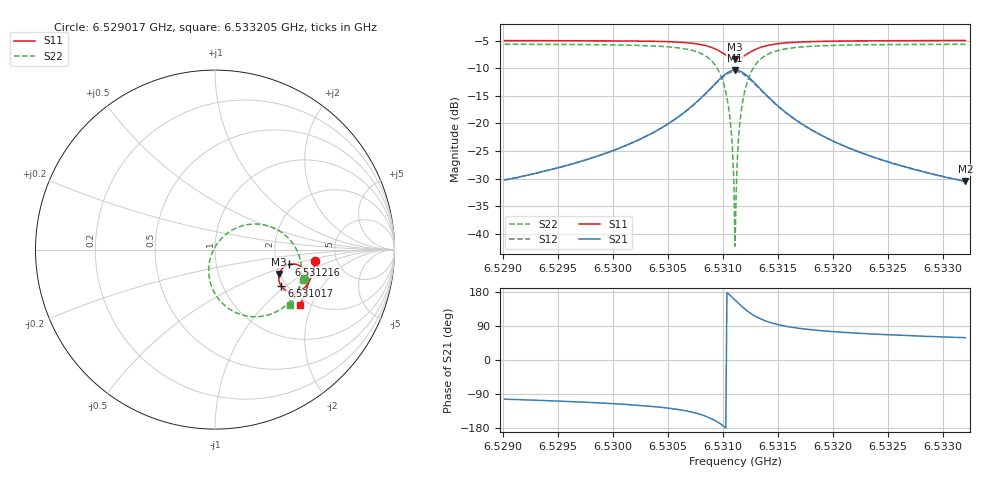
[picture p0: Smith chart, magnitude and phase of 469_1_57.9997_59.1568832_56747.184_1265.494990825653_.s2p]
#  HZ  S  RI  R  50.00
! Rohde & Schwarz Vector Network Analyzer
! Rohde-Schwarz,ZNB20-2Port,1311601062101988,3.16
! Created: UTC 3/21/2024, 1:11:17 AM
! freq[Hz]  re:S11  im:S11  re:S21  im:S21  re:S12  im:S12  re:S22  im:S22
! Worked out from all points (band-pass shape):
!   401 points, 6.529017 GHz to 6.533205 GHz, reference 50 ohm
!   highest |S21| = -10.35 dB at 6.531111 GHz (marker M1); lowest = -30.5 dB at 6.533205 GHz (marker M2)
!   |S21| within 3 dB of the highest: 6.530904 GHz to 6.531322 GHz (418.3 kHz wide, 0.0064 % of centre)
!   lowest |S11| = -8.3 dB at 6.531111 GHz (marker M3), VSWR 2.24, Z = 99.1 - j31.6 ohm
!   |S11| at or under -10 dB: nowhere
!   |S22| runs from -42.2 to -5.7 dB; largest |S21 - S12| = 0.012
!   S11 on the Smith chart (normalised r, x): 6.529017 GHz: 3.44, -0.62; 6.531017 GHz: 1.87, -0.93; 6.531216 GHz: 2.34, -0.47; 6.533205 GHz: 1.82, -1.64
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6.5290175e9  0.5577 -0.0614  -0.00718 -0.0301  -0.00769 -0.0298  0.4933 -0.165
6.5297189e9  0.5471 -0.1193  -0.0163 -0.0426  -0.0173 -0.0424  0.463 -0.2297
6.5304203e9  0.5186 -0.1882  -0.0498 -0.0729  -0.0517 -0.0717  0.3824 -0.3211
6.5306611e9  0.4917 -0.2182  -0.0888 -0.0922  -0.0916 -0.0893  0.3027 -0.362
6.530839e9  0.4484 -0.237  -0.1562 -0.0987  -0.1585 -0.0923  0.1778 -0.3701
6.5309437e9  0.4043 -0.2319  -0.2249 -0.0727  -0.2242 -0.0635  0.0607 -0.3164
6.531017e9  0.3698 -0.2049  -0.2756 -0.015  -0.2701 -0.0054  -0.0166 -0.2111
6.5310589e9  0.3572 -0.1774  -0.2915 0.0373  -0.2829 0.045  -0.0349 -0.1215
6.5310798e9  0.3549 -0.1612  -0.2922 0.0669  -0.2825 0.0733  -0.0314 -0.0723
6.5310903e9  0.355 -0.1529  -0.2904 0.0823  -0.2804 0.0875  -0.026 -0.0478
6.5311008e9  0.3564 -0.1443  -0.2871 0.0972  -0.2767 0.1016  -0.0181 -0.0235
6.5311112e9  0.3581 -0.1362  -0.2822 0.1119  -0.2717 0.1154  -0.00777 -3.87e-05
6.5311217e9  0.3611 -0.1282  -0.2759 0.1261  -0.2652 0.1287  0.00477 0.0222
6.5311322e9  0.3648 -0.1205  -0.2682 0.1395  -0.2578 0.1411  0.0195 0.0431
6.5311426e9  0.3692 -0.1134  -0.2595 0.1521  -0.2492 0.1528  0.0361 0.0625
6.5311636e9  0.3801 -0.1011  -0.2387 0.1737  -0.2292 0.1728  0.0735 0.0947
6.5312159e9  0.413 -0.083  -0.1788 0.2058  -0.1723 0.2028  0.1777 0.1386
6.5312892e9  0.4555 -0.0832  -0.1039 0.2078  -0.1006 0.2049  0.304 0.1296
6.5313939e9  0.4925 -0.1059  -0.0394 0.1772  -0.0379 0.1756  0.4093 0.0633
6.5318126e9  0.5177 -0.1858  0.0156 0.0854  0.0167 0.0851  0.4827 -0.1282
6.532514e9  0.4979 -0.257  0.0177 0.0409  0.0184 0.0407  0.4548 -0.2452
6.533205e9  0.471 -0.3083  0.0154 0.0256  0.016 0.0254  0.4198 -0.3063
